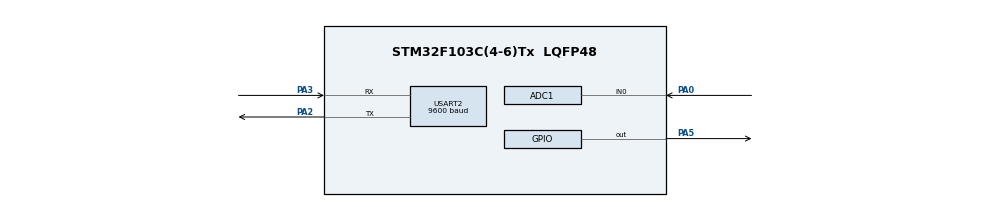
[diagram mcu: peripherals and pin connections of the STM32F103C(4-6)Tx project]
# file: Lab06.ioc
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ADC1.Channel-0\#ChannelRegularConversion=ADC_CHANNEL_0
ADC1.ContinuousConvMode=ENABLE
ADC1.NbrOfConversionFlag=1
ADC1.Rank-0\#ChannelRegularConversion=1
ADC1.SamplingTime-0\#ChannelRegularConversion=ADC_SAMPLETIME_1CYCLE_5
ADC1.master=1
Mcu.Family=STM32F1
Mcu.Name=STM32F103C(4-6)Tx
Mcu.Package=LQFP48
NVIC.PriorityGroup=NVIC_PRIORITYGROUP_4
NVIC.TIM2_IRQn=true\:0\:0\:false\:false\:true\:true\:true\:true
NVIC.USART2_IRQn=true\:0\:0\:false\:false\:true\:true\:true\:true
PA0-WKUP.Signal=ADCx_IN0
PA2.Mode=Asynchronous
PA2.Signal=USART2_TX
PA3.Mode=Asynchronous
PA3.Signal=USART2_RX
PA5.Signal=GPIO_Output
ProjectManager.HeapSize=0x200
ProjectManager.StackSize=0x400
ProjectManager.TargetToolchain=STM32CubeIDE
RCC.APB1Freq_Value=8000000
RCC.APB2Freq_Value=8000000
SH.ADCx_IN0.0=ADC1_IN0,IN0
TIM2.Period=9
TIM2.Prescaler=7999
USART2.BaudRate=9600
USART2.VirtualMode=VM_ASYNC
VP_SYS_VS_ND.Mode=No_Debug
VP_TIM2_VS_ClockSourceINT.Mode=Internal
board=custom

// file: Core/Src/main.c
/* USER CODE BEGIN Header */
/**
  ******************************************************************************
  * @file           : main.c
  * @brief          : Main program body
  ******************************************************************************
  * @attention
  *
  * <h2><center>&copy; Copyright (c) 2021 STMicroelectronics.
  * All rights reserved.</center></h2>
  *
  * This software component is licensed by ST under BSD 3-Clause license,
  * the "License"; You may not use this file except in compliance with the
  * License. You may obtain a copy of the License at:
  *                        opensource.org/licenses/BSD-3-Clause
  *
  ******************************************************************************
  */
/* USER CODE END Header */
#include "main.h"

/* USER CODE BEGIN Includes */
#include "timer.h"
#include "FSM.h"
/* USER CODE END Includes */

ADC_HandleTypeDef hadc1;

TIM_HandleTypeDef htim2;

UART_HandleTypeDef huart2;

/* USER CODE BEGIN PV */
extern int timer0_flag;

extern uint8_t temp;

uint8_t buffer_flag;

/* USER CODE END PV */

void SystemClock_Config(void);
static void MX_GPIO_Init(void);
static void MX_TIM2_Init(void);
static void MX_ADC1_Init(void);
static void MX_USART2_UART_Init(void);

/* USER CODE BEGIN 0 */
void HAL_UART_RxCpltCallback(UART_HandleTypeDef *huart){
	if(huart->Instance == USART2){
		HAL_UART_Receive_IT(&huart2, &temp, 1);
		buffer_flag = 1;
	}
}

/* USER CODE END 0 */

int main(void)
{

  /* MCU Configuration--------------------------------------------------------*/

  /* Reset of all peripherals, Initializes the Flash interface and the Systick. */
  HAL_Init();

  /* Configure the system clock */
  SystemClock_Config();

  /* Initialize all configured peripherals */
  MX_GPIO_Init();
  MX_TIM2_Init();
  MX_ADC1_Init();
  MX_USART2_UART_Init();
  /* USER CODE BEGIN 2 */
  HAL_ADC_Start(&hadc1);
  HAL_TIM_Base_Start_IT(&htim2);
  HAL_Delay(1000);
  HAL_UART_Receive_IT(&huart2, &temp, 1);
  HAL_UART_Transmit(&huart2, (uint8_t*)"Welcome !!! \rPlease enter your command!\r", sizeof("Welcome !!! \rPlease enter your command!\r"), 1000);
  /* USER CODE END 2 */

  /* Infinite loop */
  /* USER CODE BEGIN WHILE */
  setTimer0(10);
  while (1)
  {
    /* USER CODE END WHILE */

    /* USER CODE BEGIN 3 */
	  if (buffer_flag)
	  {
		  command_fsm();
		  buffer_flag = 0;
	  }
	  proc_fsm();
  }
  /* USER CODE END 3 */
}

void SystemClock_Config(void)
{
  RCC_OscInitTypeDef RCC_OscInitStruct = {0};
  RCC_ClkInitTypeDef RCC_ClkInitStruct = {0};
  RCC_PeriphCLKInitTypeDef PeriphClkInit = {0};

  /** Initializes the RCC Oscillators according to the specified parameters
  * in the RCC_OscInitTypeDef structure.
  */
  RCC_OscInitStruct.OscillatorType = RCC_OSCILLATORTYPE_HSI;
  RCC_OscInitStruct.HSIState = RCC_HSI_ON;
  RCC_OscInitStruct.HSICalibrationValue = RCC_HSICALIBRATION_DEFAULT;
  RCC_OscInitStruct.PLL.PLLState = RCC_PLL_NONE;
  if (HAL_RCC_OscConfig(&RCC_OscInitStruct) != HAL_OK)
  {
    Error_Handler();
  }

  /** Initializes the CPU, AHB and APB buses clocks
  */
  RCC_ClkInitStruct.ClockType = RCC_CLOCKTYPE_HCLK|RCC_CLOCKTYPE_SYSCLK
                              |RCC_CLOCKTYPE_PCLK1|RCC_CLOCKTYPE_PCLK2;
  RCC_ClkInitStruct.SYSCLKSource = RCC_SYSCLKSOURCE_HSI;
  RCC_ClkInitStruct.AHBCLKDivider = RCC_SYSCLK_DIV1;
  RCC_ClkInitStruct.APB1CLKDivider = RCC_HCLK_DIV1;
  RCC_ClkInitStruct.APB2CLKDivider = RCC_HCLK_DIV1;

  if (HAL_RCC_ClockConfig(&RCC_ClkInitStruct, FLASH_LATENCY_0) != HAL_OK)
  {
    Error_Handler();
  }
  PeriphClkInit.PeriphClockSelection = RCC_PERIPHCLK_ADC;
  PeriphClkInit.AdcClockSelection = RCC_ADCPCLK2_DIV2;
  if (HAL_RCCEx_PeriphCLKConfig(&PeriphClkInit) != HAL_OK)
  {
    Error_Handler();
  }
}

static void MX_ADC1_Init(void)
{

  ADC_ChannelConfTypeDef sConfig = {0};

  /** Common config
  */
  hadc1.Instance = ADC1;
  hadc1.Init.ScanConvMode = ADC_SCAN_DISABLE;
  hadc1.Init.ContinuousConvMode = ENABLE;
  hadc1.Init.DiscontinuousConvMode = DISABLE;
  hadc1.Init.ExternalTrigConv = ADC_SOFTWARE_START;
  hadc1.Init.DataAlign = ADC_DATAALIGN_RIGHT;
  hadc1.Init.NbrOfConversion = 1;
  if (HAL_ADC_Init(&hadc1) != HAL_OK)
  {
    Error_Handler();
  }

  /** Configure Regular Channel
  */
  sConfig.Channel = ADC_CHANNEL_0;
  sConfig.Rank = ADC_REGULAR_RANK_1;
  sConfig.SamplingTime = ADC_SAMPLETIME_1CYCLE_5;
  if (HAL_ADC_ConfigChannel(&hadc1, &sConfig) != HAL_OK)
  {
    Error_Handler();
  }

}

static void MX_TIM2_Init(void)
{

  TIM_ClockConfigTypeDef sClockSourceConfig = {0};
  TIM_MasterConfigTypeDef sMasterConfig = {0};

  htim2.Instance = TIM2;
  htim2.Init.Prescaler = 7999;
  htim2.Init.CounterMode = TIM_COUNTERMODE_UP;
  htim2.Init.Period = 9;
  htim2.Init.ClockDivision = TIM_CLOCKDIVISION_DIV1;
  htim2.Init.AutoReloadPreload = TIM_AUTORELOAD_PRELOAD_DISABLE;
  if (HAL_TIM_Base_Init(&htim2) != HAL_OK)
  {
    Error_Handler();
  }
  sClockSourceConfig.ClockSource = TIM_CLOCKSOURCE_INTERNAL;
  if (HAL_TIM_ConfigClockSource(&htim2, &sClockSourceConfig) != HAL_OK)
  {
    Error_Handler();
  }
  sMasterConfig.MasterOutputTrigger = TIM_TRGO_RESET;
  sMasterConfig.MasterSlaveMode = TIM_MASTERSLAVEMODE_DISABLE;
  if (HAL_TIMEx_MasterConfigSynchronization(&htim2, &sMasterConfig) != HAL_OK)
  {
    Error_Handler();
  }

}

static void MX_USART2_UART_Init(void)
{

  huart2.Instance = USART2;
  huart2.Init.BaudRate = 9600;
  huart2.Init.WordLength = UART_WORDLENGTH_8B;
  huart2.Init.StopBits = UART_STOPBITS_1;
  huart2.Init.Parity = UART_PARITY_NONE;
  huart2.Init.Mode = UART_MODE_TX_RX;
  huart2.Init.HwFlowCtl = UART_HWCONTROL_NONE;
  huart2.Init.OverSampling = UART_OVERSAMPLING_16;
  if (HAL_UART_Init(&huart2) != HAL_OK)
  {
    Error_Handler();
  }

}

static void MX_GPIO_Init(void)
{
  GPIO_InitTypeDef GPIO_InitStruct = {0};

  /* GPIO Ports Clock Enable */
  __HAL_RCC_GPIOA_CLK_ENABLE();

  /*Configure GPIO pin Output Level */
  HAL_GPIO_WritePin(GPIOA, GPIO_PIN_5, GPIO_PIN_RESET);

  /*Configure GPIO pin : PA5 */
  GPIO_InitStruct.Pin = GPIO_PIN_5;
  GPIO_InitStruct.Mode = GPIO_MODE_OUTPUT_PP;
  GPIO_InitStruct.Pull = GPIO_NOPULL;
  GPIO_InitStruct.Speed = GPIO_SPEED_FREQ_LOW;
  HAL_GPIO_Init(GPIOA, &GPIO_InitStruct);

}

/* USER CODE BEGIN 4 */
void HAL_TIM_PeriodElapsedCallback ( TIM_HandleTypeDef * htim )
{
	timerRun();
}
/* USER CODE END 4 */

void Error_Handler(void)
{
  __disable_irq();
  while (1)
  {
  }
}
